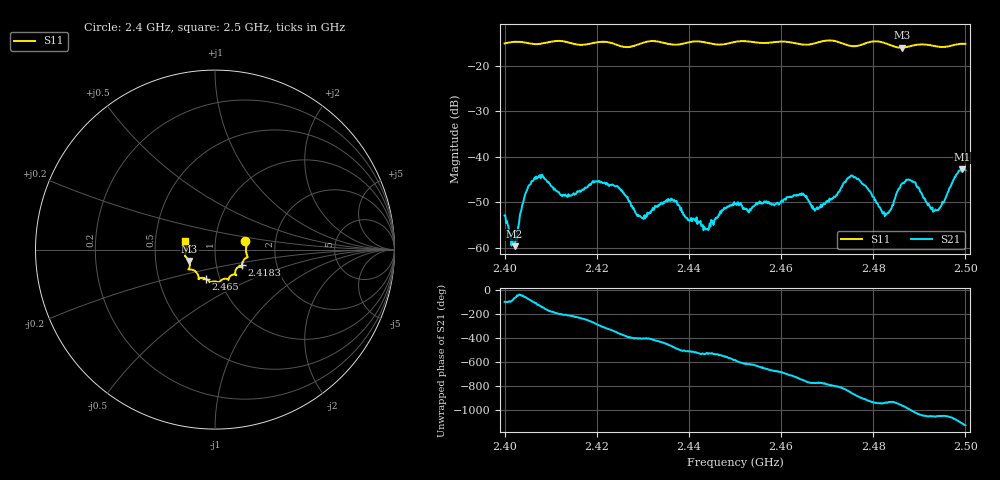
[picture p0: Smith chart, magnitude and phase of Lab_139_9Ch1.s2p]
# Hz S RI R 50
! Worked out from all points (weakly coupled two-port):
!   601 points, 2.4 GHz to 2.5 GHz, reference 50 ohm
!   highest |S21| = -42.76 dB at 2.4993 GHz (marker M1); lowest = -59.7 dB at 2.4022 GHz (marker M2)
!   lowest |S11| = -16.1 dB at 2.4862 GHz (marker M3), VSWR 1.37, Z = 37.1 - j4.8 ohm
!   |S11| at or under -10 dB: start of sweep to end of sweep
!   S12 and S22 are empty: the file has one direction only
!   S11 on the Smith chart (normalised r, x): 2.4 GHz: 1.40, +0.13; 2.4183 GHz: 1.33, -0.24; 2.465 GHz: 0.86, -0.28; 2.5 GHz: 0.71, +0.07
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2.4e9  0.1693 0.0461  -0.000469 -0.00221  0 0  0 0
2.402167e9  0.1792 0.0363  0.000339 -0.000979  0 0  0 0
2.404333e9  0.1778 0.0253  0.0018 -0.00315  0 0  0 0
2.406333e9  0.1728 0.00516  -0.00153 -0.00537  0 0  0 0
2.4125e9  0.181 -0.0426  -0.00329 0.00163  0 0  0 0
2.416667e9  0.1547 -0.0679  -0.00221 0.00359  0 0  0 0
2.418333e9  0.1499 -0.0871  -0.000963 0.00482  0 0  0 0
2.424667e9  0.1373 -0.0952  0.00459 -0.000184  0 0  0 0
2.429667e9  0.1132 -0.1348  0.00146 -0.00159  0 0  0 0
2.433333e9  0.1174 -0.1411  0.00111 -0.00271  0 0  0 0
2.436833e9  0.0916 -0.143  -0.00167 -0.00288  0 0  0 0
2.443667e9  0.0702 -0.165  -0.00157 -0.000171  0 0  0 0
2.45e9  0.0252 -0.1808  -0.0022 0.00209  0 0  0 0
2.465e9  -0.0525 -0.1615  0.00308 -0.00215  0 0  0 0
2.466667e9  -0.0713 -0.1571  0.00154 -0.00228  0 0  0 0
2.4755e9  -0.1054 -0.125  -0.00488 -0.00378  0 0  0 0
2.483333e9  -0.1413 -0.0963  -0.00203 0.00129  0 0  0 0
2.486167e9  -0.144 -0.063  -0.00245 0.00435  0 0  0 0
2.488667e9  -0.1611 -0.0426  0.00182 0.00498  0 0  0 0
2.4935e9  -0.1625 -0.0146  0.00234 0.00119  0 0  0 0
2.499333e9  -0.1681 0.044  0.00621 -0.00378  0 0  0 0
2.5e9  -0.1672 0.047  0.00484 -0.0052  0 0  0 0
